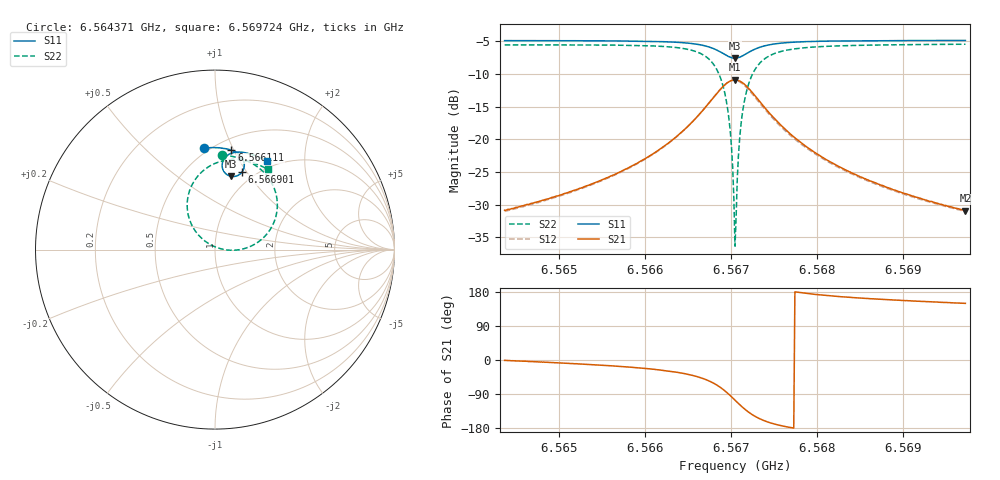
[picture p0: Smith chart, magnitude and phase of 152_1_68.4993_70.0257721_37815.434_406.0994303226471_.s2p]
#  HZ  S  RI  R  50.00
! Rohde & Schwarz Vector Network Analyzer
! Rohde-Schwarz,ZNB20-2Port,1311601062101988,3.16
! Created: UTC 3/20/2024, 4:55:19 PM
! freq[Hz]  re:S11  im:S11  re:S21  im:S21  re:S12  im:S12  re:S22  im:S22
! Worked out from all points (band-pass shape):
!   401 points, 6.564371 GHz to 6.569724 GHz, reference 50 ohm
!   highest |S21| = -10.90 dB at 6.567048 GHz (marker M1); lowest = -30.9 dB at 6.569724 GHz (marker M2)
!   |S21| within 3 dB of the highest: 6.56678 GHz to 6.567315 GHz (535 kHz wide, 0.00815 % of centre)
!   lowest |S11| = -7.6 dB at 6.567048 GHz (marker M3), VSWR 2.43, Z = 41.3 + j40.9 ohm
!   |S11| at or under -10 dB: nowhere
!   |S22| runs from -36.4 to -5.4 dB; largest |S21 - S12| = 0.014
!   S11 on the Smith chart (normalised r, x): 6.564371 GHz: 0.47, +0.78; 6.566111 GHz: 0.61, +0.98; 6.566901 GHz: 0.87, +0.95; 6.569724 GHz: 0.91, +1.32
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6.5643713e9  -0.0613 0.566  0.0286 -0.0005  0.028 -0.00108  0.0399 0.5266
6.5652679e9  0.0124 0.5678  0.0418 -0.00798  0.0411 -0.00854  0.1257 0.5127
6.566111e9  0.0917 0.5536  0.0714 -0.0327  0.0703 -0.0336  0.2377 0.4602
6.5661645e9  0.0975 0.5514  0.0744 -0.0365  0.0734 -0.0373  0.2472 0.4529
6.566673e9  0.1569 0.5002  0.1098 -0.1246  0.1072 -0.1272  0.3454 0.2807
6.5668068e9  0.1629 0.4642  0.0991 -0.1878  0.0942 -0.1913  0.3315 0.1604
6.5669005e9  0.1506 0.4321  0.0602 -0.2427  0.0518 -0.2456  0.2605 0.058
6.5669407e9  0.1383 0.4195  0.0306 -0.263  0.0203 -0.2645  0.2058 0.0217
6.5669808e9  0.1214 0.4105  -0.00699 -0.2765  -0.0188 -0.2758  0.1369 -0.000321
6.5670076e9  0.1083 0.4074  -0.035 -0.2798  -0.0473 -0.2769  0.0863 -0.00354
6.5670343e9  0.0945 0.4073  -0.0639 -0.2775  -0.0762 -0.2723  0.0348 0.00387
6.5670477e9  0.0876 0.4084  -0.0783 -0.2742  -0.0903 -0.2679  0.00989 0.0115
6.5670611e9  0.081 0.4104  -0.0922 -0.2692  -0.1037 -0.262  -0.0142 0.0216
6.5670745e9  0.0745 0.4131  -0.1056 -0.2632  -0.1163 -0.2551  -0.0367 0.0342
6.5671013e9  0.0631 0.4203  -0.1296 -0.2476  -0.1389 -0.2378  -0.0765 0.0651
6.5671414e9  0.0498 0.4348  -0.1577 -0.2179  -0.1642 -0.2066  -0.1211 0.121
6.5671949e9  0.0409 0.4566  -0.179 -0.1741  -0.1819 -0.1626  -0.1507 0.2006
6.5672618e9  0.041 0.4823  -0.1848 -0.124  -0.1844 -0.1141  -0.1516 0.2884
6.5675027e9  0.0783 0.531  -0.1419 -0.028  -0.1387 -0.0237  -0.0537 0.4493
6.5679443e9  0.1411 0.5431  -0.0812 0.00862  -0.0792 0.00986  0.0838 0.5007
6.568841e9  0.2252 0.523  -0.0394 0.0151  -0.0385 0.0154  0.2145 0.4831
6.5697242e9  0.2908 0.4915  -0.0245 0.0144  -0.0239 0.0146  0.2925 0.4471
